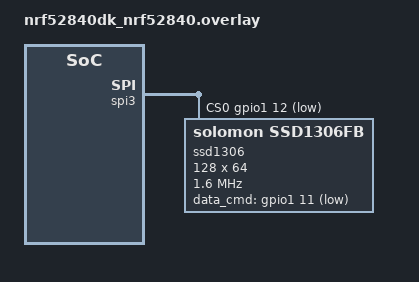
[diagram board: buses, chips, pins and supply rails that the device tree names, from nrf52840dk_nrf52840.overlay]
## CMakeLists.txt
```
cmake_minimum_required(VERSION 3.20.0)

set(SHIELD ssd1306_128x64)
find_package(Zephyr REQUIRED HINTS $ENV{ZEPHYR_BASE})

project(ssd1306_hello_world)

target_sources(app PRIVATE src/main.c)
```

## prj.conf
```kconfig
CONFIG_LOG=y
CONFIG_PRINTK=y
CONFIG_SPI=y
CONFIG_GPIO=y
# CONFIG_SPI_ASYNC=y
CONFIG_SSD1306=y
# CONFIG_SPI_SLAVE=y
CONFIG_DISPLAY=y
# CONFIG_LV_Z_MEM_POOL_NUMBER_BLOCKS=8
# CONFIG_LV_Z_SHELL=y
# CONFIG_MAIN_STACK_SIZE=2048

CONFIG_DISPLAY_LOG_LEVEL_ERR=y

# CONFIG_SHELL=y

CONFIG_LVGL=y
CONFIG_LV_MEM_CUSTOM=y
CONFIG_LV_USE_LOG=y
CONFIG_LV_USE_LABEL=y
CONFIG_LV_USE_BTN=y
CONFIG_LV_USE_IMG=y
CONFIG_LV_USE_MONKEY=y
CONFIG_LV_FONT_MONTSERRAT_14=y

# CONFIG_I2C=y

# CONFIG_CBPRINTF_FP_SUPPORT=y
# CONFIG_I2C_LOG_LEVEL_OFF=y
```

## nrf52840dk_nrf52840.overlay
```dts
/{
    chosen {
        zephyr,display = &ssd1306;
    };
};

arduino_spi:&spi3 {
    compatible = "nordic,nrf-spim";
    status = "okay";
    cs-gpios = <&gpio1 12 GPIO_ACTIVE_LOW>;
    pinctrl-0 = <&spi3_default>;
    pinctrl-1 = <&spi3_sleep>;
    pinctrl-names = "default", "sleep";
    ssd1306:ssd1306@0 {
        compatible = "solomon,ssd1306fb";
        data_cmd-gpios = <&gpio1 11 GPIO_ACTIVE_LOW >;
        reg = <0>; //0x3c is the i2c address of the SSD1306 aIC.
        width = <128>;
        height = <64>; // Change to '64' when using the 128x64 pixel version.
        segment-offset = <0>;
        page-offset = <0>;
        display-offset = <0>;
        multiplex-ratio = <63>; //change to '63' when using the 128x64 pixel version
        segment-remap;
        com-invdir;
        com-sequential;
        prechargep = <0x22>;
        spi-max-frequency = <1600000>;
    };
};
/* &pinctrl {
    spi3_default: spi3_default {
        group1 {
            psels = <NRF_PSEL(SPIM_SCK, 1, 1)>,
                    <NRF_PSEL(SPIM_MOSI, 1, 2)>,
                    <NRF_PSEL(SPIM_MISO, 1, 3)>;
        };
    };
    spi3_sleep: spi3_sleep {
        group1 {
            psels = <NRF_PSEL(SPIM_SCK, 1, 1)>,
                    <NRF_PSEL(SPIM_MOSI, 1, 2)>,
                    <NRF_PSEL(SPIM_MISO, 1, 3)>;
            low-power-enable;
        };
    };
}; */
```

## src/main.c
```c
#include <zephyr/kernel.h>
#include <zephyr/drivers/display.h>
#include <zephyr/drivers/gpio.h>
#include <zephyr/sys/printk.h>
#include <lvgl.h>
#include <stdio.h>
#include <string.h>
#include <zephyr/drivers/spi.h>
// #define LOG_LEVEL CONFIG_LOG_DEFAULT_LEVEL
#include <zephyr/logging/log.h>
LOG_MODULE_REGISTER(app);

int main(void)
{
	lv_obj_t *hello_world_label;
	// lv_obj_t *label;
	const struct device *display_dev;

	display_dev = DEVICE_DT_GET(DT_CHOSEN(zephyr_display));

	// const struct device *display_dev = DEVICE_DT_GET(DT_NODELABEL(ssd1306));
	if (!device_is_ready(display_dev))
	{
		printk("Device not ready, aborting test");
		return 0;
	}

	if (IS_ENABLED(CONFIG_LV_Z_POINTER_KSCAN))
	{
		lv_obj_t *hello_world_button;

		hello_world_button = lv_btn_create(lv_scr_act());
		lv_obj_align(hello_world_button, LV_ALIGN_CENTER, 0, 0);
		hello_world_label = lv_label_create(hello_world_button);
		// lv_obj_set_style_bg_color(hello_world_button, lv_color_hex(255), LV_PART_MAIN);
		// lv_obj_t *hello_world_button;
		/* lv_obj_t *label;
		lv_obj_t *btn;
		btn = lv_btn_create(lv_scr_act());
		lv_obj_align(btn, LV_ALIGN_CENTER, 0, 0);
		label = lv_label_create(label); */
	}
	else
	{
		// label = lv_label_create(lv_scr_act());
		hello_world_label = lv_label_create(lv_scr_act());
	}
	// label = lv_btn_create(lv_scr_act());
	// lv_obj_set_style_text_color(label, lv_color_hex(0x00), LV_PART_MAIN);
	// lv_label_set_text(label, "Indiesemic");
	// lv_obj_align(label, LV_ALIGN_CENTER, 0, 0);
	lv_label_set_text(hello_world_label, "IndieSemiC");
	lv_obj_align(hello_world_label, LV_ALIGN_CENTER, 0, 0);
	// lv_obj_set_style_text_color(hello_world_label, lv_color_hex(0), LV_PART_MAIN);

	/*  count_label = lv_label_create(lv_scr_act());
		lv_obj_align(count_label, LV_ALIGN_BOTTOM_MID, 0, 0); */
	lv_task_handler();
	display_blanking_off(display_dev);
}
```
